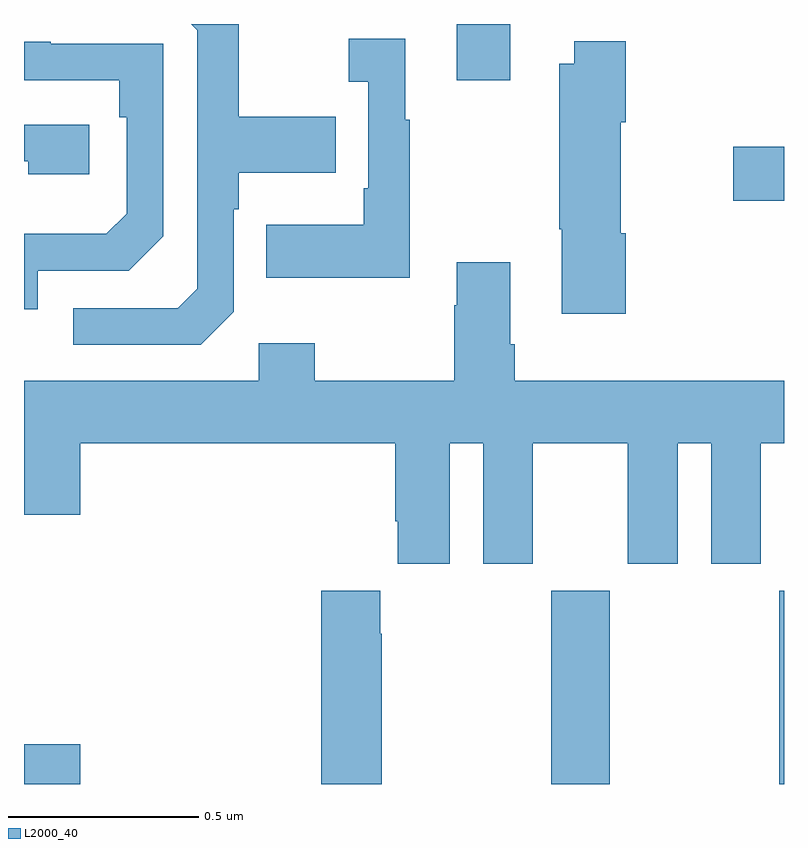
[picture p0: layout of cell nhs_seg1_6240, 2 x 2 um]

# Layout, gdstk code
import gdstk
lib = gdstk.Library(unit=1e-6, precision=1e-09)
def R(c, l, rs):  # rectangles x0, y0, x1, y1
    for r in rs: c.add(gdstk.rectangle(r[:2], r[2:], *l))
def P(c, l, *ps):  # polygons
    for p in ps: c.add(gdstk.Polygon(p, *l))
L2000_40 = (2000, 40)

nhs_seg1_6240 = lib.new_cell('nhs_seg1_6240')
R(nhs_seg1_6240, L2000_40, [(189,520.199,189.148,520.303), (190.387,520.199,190.542,520.708), (190.987,520.199,191,520.708), (190.866,521.734,191,521.876), (190.139,522.051,190.279,522.199)])
P(nhs_seg1_6240, L2000_40, [(189.552,521.442),(189.552,521.711),(189.565,521.711),(189.565,521.807),(189.821,521.807),(189.821,521.955),(189.565,521.955),(189.565,522.199),(189.44,522.199),(189.456,522.183),(189.456,521.502),(189.405,521.451),(189.129,521.451),(189.129,521.355),(189.465,521.355)],
  [(190.015,521.947),(190.003,521.947),(190.003,522.16),(189.855,522.16),(189.855,522.047),(189.906,522.047),(189.906,521.767),(189.894,521.767),(189.894,521.671),(189.637,521.671),(189.637,521.531),(190.015,521.531)],
  [(190.583,521.648),(190.57,521.648),(190.57,521.941),(190.583,521.941),(190.583,522.154),(190.448,522.154),(190.448,522.094),(190.408,522.094),(190.408,521.659),(190.415,521.659),(190.415,521.436),(190.583,521.436)],
  [(189.036,521.55),(189.276,521.55),(189.366,521.64),(189.366,522.147),(189.071,522.147),(189.071,522.152),(189,522.152),(189,522.051),(189.25,522.051),(189.25,521.954),(189.27,521.954),(189.27,521.7),(189.217,521.647),(189,521.647),(189,521.448),(189.036,521.448)],
  [(189.172,521.934),(189,521.934),(189,521.838),(189.011,521.838),(189.011,521.804),(189.172,521.804)],
  [(190.12,521.096),(190.208,521.096),(190.208,520.779),(190.339,520.779),(190.339,521.096),(190.589,521.096),(190.589,520.779),(190.72,520.779),(190.72,521.096),(190.808,521.096),(190.808,520.779),(190.939,520.779),(190.939,521.096),(191,521.096),(191,521.26),(190.292,521.26),(190.292,521.356),(190.279,521.356),(190.279,521.572),(190.139,521.572),(190.139,521.459),(190.132,521.459),(190.132,521.26),(189.765,521.26),(189.765,521.359),(189.618,521.359),(189.618,521.26),(189,521.26),(189,520.908),(189.148,520.908),(189.148,521.096),(189.977,521.096),(189.977,520.891),(189.983,520.891),(189.983,520.779),(190.12,520.779)],
  [(189.942,520.595),(189.937,520.595),(189.937,520.708),(189.782,520.708),(189.782,520.199),(189.942,520.199)])

lib.write_gds('nhs_seg1_6240.gds')
